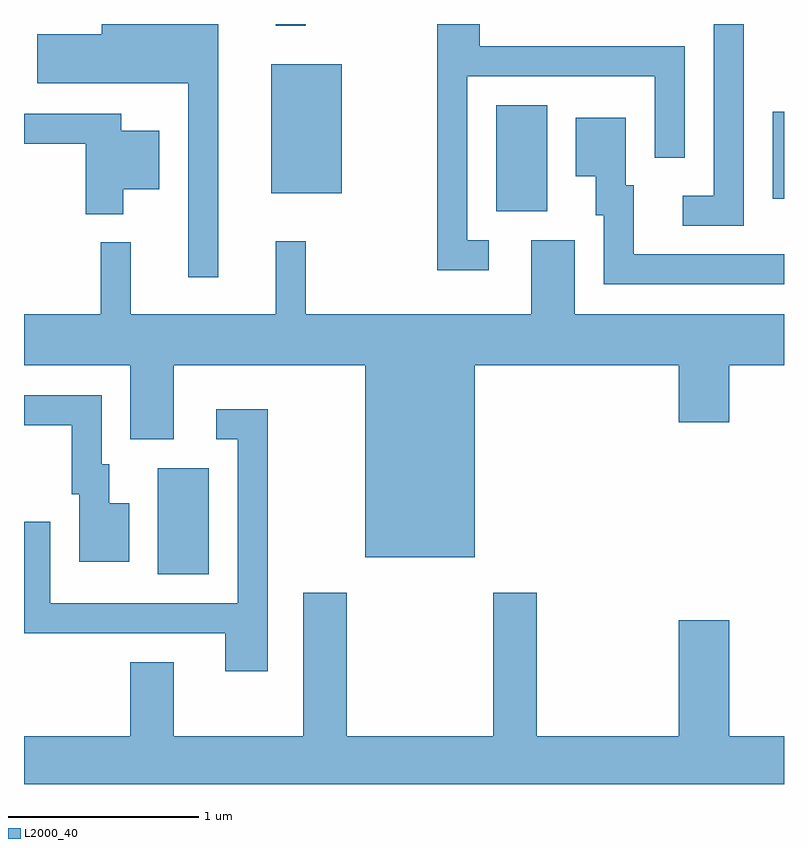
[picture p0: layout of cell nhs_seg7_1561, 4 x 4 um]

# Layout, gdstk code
import gdstk
lib = gdstk.Library(unit=1e-6, precision=1e-09)
def R(c, l, rs):  # rectangles x0, y0, x1, y1
    for r in rs: c.add(gdstk.rectangle(r[:2], r[2:], *l))
def P(c, l, *ps):  # polygons
    for p in ps: c.add(gdstk.Polygon(p, *l))
L2000_40 = (2000, 40)

nhs_seg7_1561 = lib.new_cell('nhs_seg7_1561')
R(nhs_seg7_1561, L2000_40, [(232.316,1795.356,232.584,1795.914), (234.096,1797.266,234.364,1797.824), (235.551,1797.331,235.611,1797.789), (232.911,1797.361,233.284,1798.039), (232.936,1798.243,233.094,1798.252)])
P(nhs_seg7_1561, L2000_40, [(232.634,1798.252),(232.021,1798.252),(232.021,1798.199),(231.681,1798.199),(231.681,1797.941),(232.476,1797.941),(232.476,1796.918),(232.634,1796.918)],
  [(234.058,1797.114),(233.944,1797.114),(233.944,1797.976),(234.931,1797.976),(234.931,1797.548),(235.089,1797.548),(235.089,1798.134),(234.009,1798.134),(234.009,1798.252),(233.786,1798.252),(233.786,1796.956),(234.058,1796.956)],
  [(235.399,1798.252),(235.241,1798.252),(235.241,1797.349),(235.078,1797.349),(235.078,1797.191),(235.399,1797.191)],
  [(232.134,1797.381),(232.324,1797.381),(232.324,1797.689),(232.124,1797.689),(232.124,1797.779),(231.611,1797.779),(231.611,1797.621),(231.936,1797.621),(231.936,1797.251),(232.134,1797.251)],
  [(235.611,1797.039),(234.819,1797.039),(234.819,1797.404),(234.779,1797.404),(234.779,1797.759),(234.516,1797.759),(234.516,1797.451),(234.621,1797.451),(234.621,1797.246),(234.661,1797.246),(234.661,1796.881),(235.611,1796.881)],
  [(233.094,1797.108),(232.936,1797.108),(232.936,1796.724),(232.174,1796.724),(232.174,1797.103),(232.016,1797.103),(232.016,1796.724),(231.611,1796.724),(231.611,1796.456),(232.171,1796.456),(232.171,1796.066),(232.399,1796.066),(232.399,1796.456),(233.406,1796.456),(233.406,1795.446),(233.984,1795.446),(233.984,1796.456),(235.056,1796.456),(235.056,1796.156),(235.324,1796.156),(235.324,1796.456),(235.611,1796.456),(235.611,1796.724),(234.509,1796.724),(234.509,1797.114),(234.281,1797.114),(234.281,1796.724),(233.094,1796.724)],
  [(232.164,1795.729),(232.059,1795.729),(232.059,1795.934),(232.019,1795.934),(232.019,1796.299),(231.611,1796.299),(231.611,1796.141),(231.861,1796.141),(231.861,1795.776),(231.901,1795.776),(231.901,1795.421),(232.164,1795.421)],
  [(232.894,1796.224),(232.623,1796.224),(232.623,1796.066),(232.736,1796.066),(232.736,1795.204),(231.749,1795.204),(231.749,1795.633),(231.611,1795.633),(231.611,1795.046),(232.671,1795.046),(232.671,1794.846),(232.894,1794.846)],
  [(232.171,1794.504),(231.611,1794.504),(231.611,1794.252),(235.611,1794.252),(235.611,1794.504),(235.324,1794.504),(235.324,1795.114),(235.056,1795.114),(235.056,1794.504),(234.309,1794.504),(234.309,1795.259),(234.081,1795.259),(234.081,1794.504),(233.309,1794.504),(233.309,1795.259),(233.081,1795.259),(233.081,1794.504),(232.399,1794.504),(232.399,1794.894),(232.171,1794.894)])

lib.write_gds('nhs_seg7_1561.gds')
